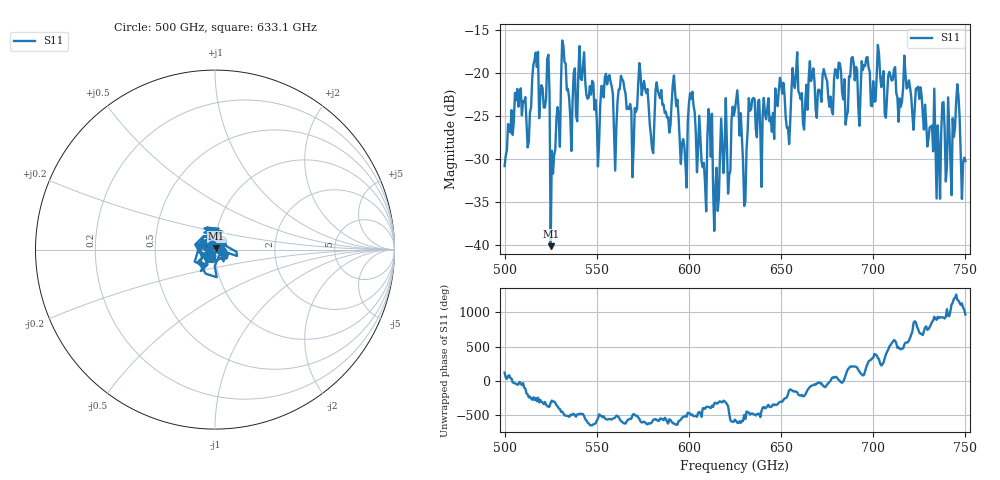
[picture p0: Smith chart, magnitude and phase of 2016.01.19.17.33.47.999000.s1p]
!Created with skrf (http://scikit-rf.org).
# GHz S RI R 50.0
!freq ReS11 ImS11
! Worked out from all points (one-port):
!   401 points, 500 GHz to 750 GHz, reference 50 ohm
!   lowest |S11| = -40.1 dB at 525 GHz (marker M1), VSWR 1.02, Z = 50.7 + j0.706 ohm
!   |S11| at or under -10 dB: start of sweep to end of sweep
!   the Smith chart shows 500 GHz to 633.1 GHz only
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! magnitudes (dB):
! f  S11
! 500 GHz  -30.8
! 506.9 GHz  -21.9
! 513.1 GHz  -28.0
! 516.9 GHz  -17.7
! 523.1 GHz  -18.4
! 525 GHz  -40.1
! 526.2 GHz  -31.7
! 531.2 GHz  -16.2
! 535.6 GHz  -25.1
! 541.9 GHz  -20.8
! 550 GHz  -25.5
! 562.5 GHz  -21.9
! 570 GHz  -28.6
! 593.8 GHz  -23.1
! 597.5 GHz  -28.4
! 601.9 GHz  -22.2
! 608.1 GHz  -30.4
! 611.2 GHz  -25.4
! 615 GHz  -31.0
! 625 GHz  -24.2
! 630 GHz  -35.4
! 633.8 GHz  -24.2
! 656.2 GHz  -19.4
! 687.5 GHz  -20.5
! 718.8 GHz  -21.6
! 735 GHz  -26.1
! 745.6 GHz  -21.3
! 750 GHz  -30.2
